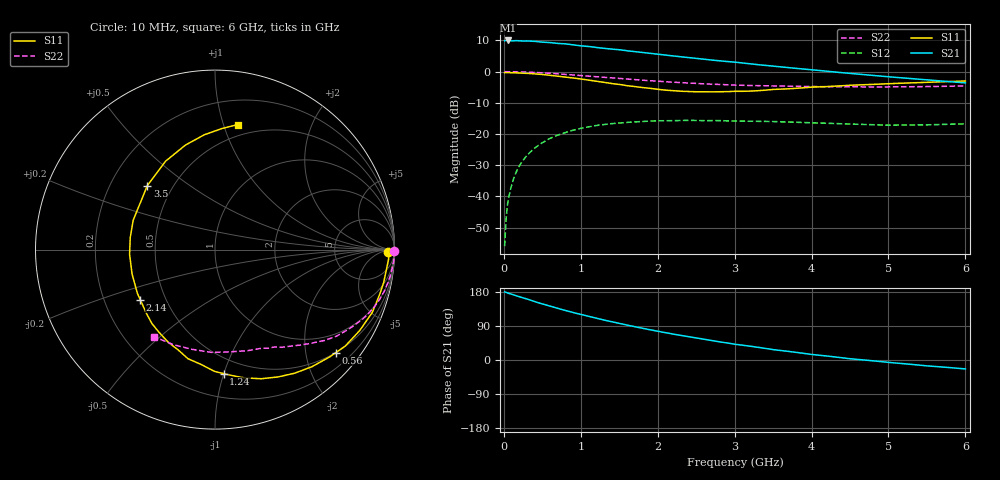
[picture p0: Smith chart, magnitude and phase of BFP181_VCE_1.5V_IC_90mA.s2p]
! Infineon Technologies  Discrete & RF Semiconductors
! BFP181
! VCE = 1.5 V,  IC =  90 mA
! Common Emitter S-Parameters:  Jan 2016
# GHz  S  MA  R  50
!  f  S11  S21  S12  S22
! GHz  MAG  ANG  MAG  ANG  MAG  ANG  MAG  ANG
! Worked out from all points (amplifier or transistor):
!   210 points, 10 MHz to 6 GHz, reference 50 ohm
!   highest |S21| = 10.0 dB at 50 MHz (marker M1)
!   |S21| within 3 dB of that: start of sweep to 1.512 GHz
!   unconditionally stable (mu >= 1): 3.057 GHz to end of sweep
!   at 185 MHz: K = 0.07, MSG = 20.4 dB, |S12| = -30.9 dB
!   at 1.52 GHz: K = 0.53, MSG = 11.7 dB, |S12| = -16.4 dB
!   at 6 GHz: K = 1.33, MAG = 3.1 dB, |S12| = -16.7 dB
!   S11 on the Smith chart (normalised r, x): 10 MHz: 48, -22; 560 MHz: 0.50, -2.63; 1.24 GHz: 0.38, -1.00; 2.14 GHz: 0.36, -0.27; 3.5 GHz: 0.36, +0.35; 6 GHz: 0.40, +1.12
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0.01  0.9662 -0.9  3.127 179.7  0.0016 84.7  0.9994 -0.3
0.03  0.9683 -2.1  3.157 178.5  0.0044 86.2  0.9971 -1.1
0.05  0.9684 -3.3  3.16 176.8  0.0078 89.2  0.997 -1.8
0.115  0.9594 -8.4  3.111 172.7  0.0173 83.0  0.9967 -4.0
0.2  0.9516 -14.7  3.12 167.1  0.0307 80.2  0.9914 -6.9
0.3  0.9432 -21.9  3.104 161.2  0.0454 75.2  0.9823 -10.4
0.4  0.9239 -29.2  3.058 154.2  0.0594 70.5  0.9713 -13.8
0.56  0.8845 -40.5  2.944 144.5  0.0802 62.8  0.9479 -18.7
0.8  0.8193 -57.2  2.79 130.6  0.1059 52.9  0.9053 -25.7
1.02  0.757 -71.6  2.581 119.2  0.1249 44.5  0.8629 -31.3
1.24  0.6928 -86.0  2.41 108.5  0.1393 36.8  0.8232 -36.3
1.5  0.6264 -103.9  2.249 96.4  0.1503 29.5  0.775 -41.3
1.6  0.596 -110.0  2.161 92.1  0.154 27.1  0.761 -42.9
2.02  0.5184 -138.2  1.891 75.2  0.1633 17.7  0.7012 -49.6
2.14  0.5012 -146.3  1.817 70.7  0.1637 15.3  0.6858 -51.6
2.6  0.4766 -176.7  1.585 54.9  0.164 7.9  0.6362 -58.4
3.1  0.4843 155.4  1.376 39.2  0.1611 1.5  0.6041 -66.0
3.5  0.5189 136.6  1.227 27.4  0.1588 -1.9  0.5914 -72.3
4.1  0.5699 116.4  1.044 12.7  0.15 -5.5  0.5738 -83.7
4.5  0.6052 105.8  0.937 3.3  0.1446 -7.2  0.5731 -92.0
5.1  0.648 93.5  0.809 -8.0  0.1392 -5.7  0.57 -105.0
6  0.7083 79.7  0.66 -23.6  0.1458 -2.5  0.5921 -124.8
